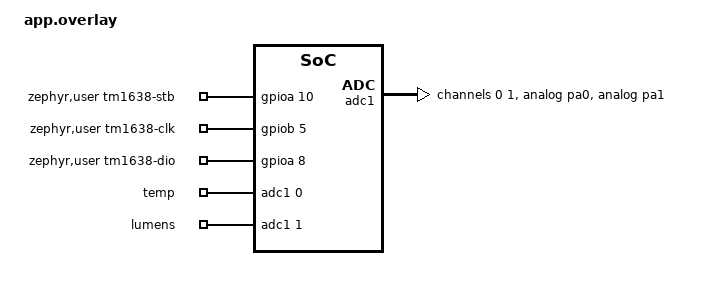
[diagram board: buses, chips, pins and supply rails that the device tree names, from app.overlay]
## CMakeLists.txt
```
# SPDX-License-Identifier: Apache-2.0

cmake_minimum_required(VERSION 3.20.0)

find_package(Zephyr REQUIRED HINTS $ENV{ZEPHYR_BASE})
project(hello_world)

target_sources(app PRIVATE
    src/main.c
    src/tm1638.c
)
target_include_directories(app PRIVATE src)
```

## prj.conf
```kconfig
# Added automatically by Workbench for Zephyr
#--- DEBUG PRESET - BEGIN ---#
# Set to -Og
CONFIG_DEBUG_OPTIMIZATIONS=y
# Thread awareness support
CONFIG_DEBUG_THREAD_INFO=y
# Generate stack usage per-function
CONFIG_STACK_USAGE=y
# Other options in case not set by default
CONFIG_BUILD_OUTPUT_HEX=y
CONFIG_BUILD_OUTPUT_META=y
CONFIG_OUTPUT_SYMBOLS=y
CONFIG_OUTPUT_STAT=y
CONFIG_OUTPUT_DISASSEMBLY=y
CONFIG_OUTPUT_PRINT_MEMORY_USAGE=y
#--- DEBUG PRESET - END ---#
CONFIG_GPIO=y
CONFIG_PRINTK=y
CONFIG_ADC=y
CONFIG_ADC_ASYNC=y
CONFIG_LOG=y
```

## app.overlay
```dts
#include <zephyr/dt-bindings/gpio/gpio.h>
#include <zephyr/dt-bindings/adc/adc.h>
/*
 * Patron "zephyr,user": forma estandar de Zephyr para pasarle GPIOs
 * sueltos a la aplicacion sin necesidad de escribir un devicetree
 * binding ni un driver formal.
 *
 * Al llamarse "app.overlay" y estar en la raiz del proyecto (no dentro
 * de boards/), Zephyr lo aplica automaticamente sin importar la placa
 * para la que compiles -- no hace falta pasar -DDTC_OVERLAY_FILE ni
 * tocar el CMakeLists.txt.
 *
 * Pines elegidos sobre el header estilo Arduino del Nucleo-F401RE
 * (libres por defecto, no pisan UART2/I2C1 que ya usa la placa):
 *   D2 -> STB   (PA10)
 *   D4 -> CLK   (PB5)
 *   D7 -> DIO   (PA8)
 * Para usar otros pines fisicos, solo hay que cambiar los numeros de
 * &arduino_header aqui abajo -- el resto del proyecto no cambia.
 */
/ {
	zephyr,user {
		tm1638-stb-gpios = <&gpioa 10 GPIO_ACTIVE_HIGH>;
		tm1638-clk-gpios = <&gpiob 5 GPIO_ACTIVE_HIGH>;
		tm1638-dio-gpios = <&gpioa 8 GPIO_ACTIVE_HIGH>;

		io-channels = <&adc1 0>, <&adc1 1>;
		io-channel-names = "temp", "lumens";
	};
};

/* DEVICETREE-MANAGER-BEGIN: generated region, do not edit inside this block */
&adc1 {
	#address-cells = <1>;
	#size-cells = <0>;
    	pinctrl-names = "default";
    	pinctrl-0 = <&analog_pa0 &analog_pa1>;
    	status = "okay";
	channel@0{
		reg = <0>;
		zephyr,gain = "ADC_GAIN_1";
		zephyr,reference = "ADC_REF_INTERNAL";
		zephyr,vref-mv = <3300>;
		zephyr,acquisition-time = <ADC_ACQ_TIME(ADC_ACQ_TIME_MICROSECONDS, 40)>;
		zephyr,resolution = <12>;
	};
	channel@1{
		reg = <1>;
		zephyr,gain = "ADC_GAIN_1";
		zephyr,reference = "ADC_REF_INTERNAL";
		zephyr,vref-mv = <3300>;
		zephyr,acquisition-time = <ADC_ACQ_TIME(ADC_ACQ_TIME_MICROSECONDS, 40)>;
		zephyr,resolution = <12>;
	};


};
/* DEVICETREE-MANAGER-END */
```

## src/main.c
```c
/*
 * Copyright (c) 2012-2014 Wind River Systems, Inc.
 *
 * SPDX-License-Identifier: Apache-2.0
 */
#include <zephyr/kernel.h>
#include <zephyr/drivers/gpio.h>
#include <zephyr/sys/printk.h>
#include <zephyr/random/random.h>
#include <zephyr/devicetree.h>
#include <zephyr/drivers/adc.h>
#include <zephyr/sys/util.h>
#include <zephyr/device.h>
#include "tm1638.h"	
#include <stdlib.h>

/*
 * Los 3 pines se definen en app.overlay dentro del nodo estandar
 * "zephyr,user" -- el patron recomendado por Zephyr para exponer GPIO
 * sueltos a la aplicacion sin escribir un devicetree binding propio.
 * Si cambias de pines fisicos, solo hay que editar app.overlay: este
 * archivo no cambia.
 */
static const struct gpio_dt_spec stb_pin =
	GPIO_DT_SPEC_GET(DT_PATH(zephyr_user), tm1638_stb_gpios);
static const struct gpio_dt_spec clk_pin =
	GPIO_DT_SPEC_GET(DT_PATH(zephyr_user), tm1638_clk_gpios);
static const struct gpio_dt_spec dio_pin =
	GPIO_DT_SPEC_GET(DT_PATH(zephyr_user), tm1638_dio_gpios);

static const struct adc_dt_spec vol =
	ADC_DT_SPEC_GET_BY_NAME(DT_PATH(zephyr_user), temp);

int last_button = 0;
int counter = 0;
int bot = 0;
volatile bool flag = true, menuflag = false;

uint64_t inicio, fin, tiempo;
uint32_t tiempo_aleatorio;

#define STACK_SIZE 512

#define PRIORITY_MAIN 5
#define PRIORITY_JUEGO 4
#define PRIORITY_BOTONES 3
#define PRIORITY_TIEMPO 2
#define PRIORITY_AUTOFAN 1
#define PRIORITY_READVOL 6

K_SEM_DEFINE (leer, 0, 1);
K_SEM_DEFINE (display, 0, 1);
K_SEM_DEFINE (autof, 0, 1);
K_SEM_DEFINE (juego, 0, 1);
K_SEM_DEFINE (stopleer, 0, 1);
K_SEM_DEFINE (stopdis, 0, 1);
K_SEM_DEFINE (stopauto, 0, 1);
K_SEM_DEFINE (stopjuego, 0, 1);
K_SEM_DEFINE (readvolt, 0, 1);
K_SEM_DEFINE (stopvolt, 0, 1);

K_MUTEX_DEFINE(acceso_hardware);



void menu (){
		printk("Menu de opciones:\n");
		printk("1) Ajustar brillo (0-7)\n");
		printk("2) remostrar mensaje de bienvenida\n");
		printk("3) leer botones y mostrar en display\n");
		printk("4) juego de reaccion con botones y leds\n");
}

void ajustar_brillo(){
	menuflag = true;
	int level = 0;
	k_mutex_lock(&acceso_hardware, K_FOREVER);
	tm1638_clear_digits();
	tm1638_set_digit(0, 0x73); //P o 0xce
	tm1638_set_digit(1, 0x77); //R o 0xee
	tm1638_set_digit(2, 0x79); //E o 0x9e
	tm1638_set_digit(3, 0x6D); //S o 0xb6
	tm1638_set_digit(4, 0xED); //S. o oxb7
	k_mutex_unlock(&acceso_hardware);
	while (menuflag){ 
		k_mutex_lock(&acceso_hardware, K_FOREVER);
		level = tm1638_get_button();
		k_mutex_unlock(&acceso_hardware);
		/* Solo reaccionamos en el flanco de "recien presionado",
		 * no en cada iteracion mientras se mantiene presionado.
		 */
		if (level > 0 && level != last_button) {

			k_mutex_lock(&acceso_hardware, K_FOREVER);
			tm1638_set_brightness(level-1);
			tm1638_clear_digits();
			tm1638_display(level-1);
			k_mutex_unlock(&acceso_hardware);

			printk("brillo ajustado a %d\n", level-1);
			if ((level-1)!=0) menuflag = false;
			}
		
		last_button = level;

		k_msleep(20);
	}
}

void mostrar_bienvenida(){

	k_mutex_lock(&acceso_hardware, K_FOREVER);
	tm1638_clear_digits();
	tm1638_set_digit(0, 0x76); //H o 0x76
	tm1638_set_digit(1, 0x79); //E o 0x9e
	tm1638_set_digit(2, 0x1C); //L o 0x1c este esta invertido por si las moscas
	tm1638_set_digit(3, 0x38); //L o 0x38
	tm1638_set_digit(4, 0xBF); //O o 0xfc 
	k_mutex_unlock(&acceso_hardware);
}

void mostrar_boton(){
	menuflag = true;
	k_mutex_lock(&acceso_hardware, K_FOREVER);
	tm1638_clear_digits();
	tm1638_set_digit(0, 0x73); //P o 0xce
	tm1638_set_digit(1, 0x77); //R o 0xee
	tm1638_set_digit(2, 0x79); //E o 0x9e
	tm1638_set_digit(3, 0x6D); //S o 0xb6
	tm1638_set_digit(4, 0xED); //S. o oxb7
	tm1638_set_digit(5, 0x3F); //O
	tm1638_set_digit(6, 0xBE); //U.
	tm1638_set_digit(7, 0xFF); //8
	k_mutex_unlock(&acceso_hardware);

	while (menuflag){ 

		k_mutex_lock(&acceso_hardware, K_FOREVER);
		int button = tm1638_get_button();
		k_mutex_unlock(&acceso_hardware);
		/* Solo reaccionamos en el flanco de "recien presionado",
		 * no en cada iteracion mientras se mantiene presionado.
		 */
		if (button > 0 && button != last_button) {

			
			k_mutex_lock(&acceso_hardware, K_FOREVER);
			tm1638_clear_digits();
			tm1638_display(button);
			k_mutex_unlock(&acceso_hardware);

			printk("Boton %d presionado\n", button);
			if (button == 8){
				menuflag = false;
				last_button = button;
				printk("Saliendo de la funcion mostrar_boton\n");
				k_msleep(2000);
			}
		}

		last_button = button;

		k_msleep(20);
	}
}

void leer_botones(void){

	while(1){

		k_sem_take(&leer ,K_FOREVER);

		while (1) {

			if(k_sem_take(&stopleer, K_NO_WAIT)==0) break;

			k_mutex_lock(&acceso_hardware, K_FOREVER);
			int boton = tm1638_get_button();
			k_mutex_unlock(&acceso_hardware);
			/* Solo reaccionamos en el flanco de "recien presionado",
			* no en cada iteracion mientras se mantiene presionado.
			*/
			if (boton > 0 && boton != last_button) {
				k_sem_give(&stopjuego);
				printk("Boton %d presionado\n", boton);
			}
			last_button = boton;
		
			k_msleep(22);
		}
	}
}

void actualizar_tiempo(void){
	while (1) {

		k_sem_take (&display, K_FOREVER);
		
		while(1){
			if (k_sem_take(&stopdis, K_NO_WAIT) == 0) break;
			k_mutex_lock(&acceso_hardware, K_FOREVER);
			tm1638_clear_digits();
			k_mutex_unlock(&acceso_hardware);
			fin = k_uptime_get();
			tiempo = (fin - inicio)/10;
			k_mutex_lock(&acceso_hardware, K_FOREVER);
			tm1638_display(tiempo);
			k_mutex_unlock(&acceso_hardware);
			k_msleep(10);
		}
	}
}

void iniciar_juego(void){

	while (1){
	
		k_sem_take(&juego, K_FOREVER);

		while (1){

			k_mutex_lock(&acceso_hardware, K_FOREVER);
			tm1638_clear();
			k_mutex_unlock(&acceso_hardware);
			printk("Juego de reaccion iniciado. Espera a que se encienda el LED...\n");
			k_mutex_lock(&acceso_hardware, K_FOREVER);
			tm1638_display(3);
			k_mutex_unlock(&acceso_hardware);
			k_msleep(1000);
			k_mutex_lock(&acceso_hardware, K_FOREVER);
			tm1638_clear();
			tm1638_display(2);
			k_mutex_unlock(&acceso_hardware);
			k_msleep(1000);
			k_mutex_lock(&acceso_hardware, K_FOREVER);
			tm1638_clear();
			tm1638_display(1);
			k_mutex_unlock(&acceso_hardware);
			k_msleep(1000);
			k_mutex_lock(&acceso_hardware, K_FOREVER);
			tm1638_clear();
			k_mutex_unlock(&acceso_hardware);

			tiempo_aleatorio = (rand() % 3000) +1000;
			k_msleep(tiempo_aleatorio);
			inicio = k_uptime_get();

			k_sem_give(&display);
			k_sem_give(&leer);
			k_sem_give(&autof);

			k_sem_take(&stopjuego, K_FOREVER);

			k_sem_give(&stopdis);
			k_sem_give(&stopleer);

			bool ganador = false;
			
			k_mutex_lock(&acceso_hardware, K_FOREVER);
			tm1638_clear_leds();
			k_mutex_unlock(&acceso_hardware);
			for (int i = 0; i < 10; i++)
			{
				k_mutex_lock(&acceso_hardware, K_FOREVER);
				if (ganador) tm1638_set_brightness(7);
				else tm1638_set_brightness(0);
				k_mutex_unlock(&acceso_hardware);
				ganador = !ganador;
				k_msleep(100);
			}

			k_sem_give(&stopauto);

		}
	}
}

void autofan(void){
	while(1){

		k_sem_take(&autof, K_FOREVER);

		while (1){

			if (k_sem_take(&stopauto, K_NO_WAIT) == 0) break;

			for (int i = 0; i < 8; i++){
				k_mutex_lock(&acceso_hardware, K_FOREVER);
				tm1638_clear_leds();
				tm1638_set_led(i, 1);
				k_mutex_unlock(&acceso_hardware);
				k_msleep(50);
			}
			for (int t = 7; t >= 0; t--){
				k_mutex_lock(&acceso_hardware, K_FOREVER);
				tm1638_clear_leds();
				tm1638_set_led(t, 1);
				k_mutex_unlock(&acceso_hardware);
				k_msleep(50);
			}
		}
	}
}

void readvol(void){
	int16_t rawvol;
	int32_t mv;
	
	int rec;

	int num;

	struct adc_sequence sec = {
    	.buffer = &rawvol,
    	.buffer_size = sizeof(rawvol),
    };
	k_sem_take(&readvolt, K_FOREVER);
	while (1){
		if (k_sem_take(&stopvolt, K_NO_WAIT) == 0) break;
		rec = adc_sequence_init_dt(&vol, &sec);
		if (rec!=0){
			printk("error al iniciar secuencia");
			break;
		}
		rec = adc_read(vol.dev, &sec);
		if (rec!=0){
			printk("error al leer");
			break;
		}
		num = rawvol*10000;
		mv = rawvol;

		rec = adc_raw_to_millivolts_dt(&vol, &mv);
		if (rec!=0){

			printk("error al iniciar transformar");
			break;
		}
		num = num + mv;
		
		k_mutex_lock(&acceso_hardware, K_FOREVER);
		tm1638_clear_digits();
		tm1638_display(num);
		k_mutex_unlock(&acceso_hardware);
		printk("Voltaje leido: %d mV\n", mv);
		
		k_msleep(500);
	}
}

void mainloop(void)
{
	while (1) {
		int ret;

		printk("Iniciando demo de TM1638...\n");
		/* 1) Inicializar el TM1638 */
		if (!device_is_ready(vol.dev)){
			printk("ADC no esta listo");
			break;
		}

		ret = adc_channel_setup_dt(&vol);

		if (ret != 0){
			printk("ADC no configurado");
		}

		k_mutex_lock(&acceso_hardware, K_FOREVER);
		printk("Antes de init\n");
		ret = tm1638_init(stb_pin, clk_pin, dio_pin);
		printk("Despues de init ret=%d\n", ret);
		k_mutex_unlock(&acceso_hardware);
		printk("ret definido\n");
		if (ret != 0) {
			printk("Error al inicializar el TM1638 (ret=%d)\n", ret);
			break;
		}
		printk("procesado\n");
		/* 2) tm1638_set_brightness(0-7): establecer el brillo */
		k_mutex_lock(&acceso_hardware, K_FOREVER);
		tm1638_set_brightness(7);
		printk("brillo establecido\n");
		/* 3) tm1638_display(): mostrar un numero en los 8 digitos */
		tm1638_display(12345678);
		printk("12345678\n");
		k_mutex_unlock(&acceso_hardware);
		k_msleep(1500);

		/* 4) tm1638_set_digit(): control manual de un digito. */
		/*    0x77 = segmentos a,b,c,e,f,g encendidos -> dibuja una "A". */
		k_mutex_lock(&acceso_hardware, K_FOREVER);
		tm1638_set_digit(2, 0x77);
		printk("set digit\n");
		k_mutex_unlock(&acceso_hardware);
		k_msleep(1000);

		/* 5) tm1638_set_digit(): control manual de un digito.
		*    0xFF enciende los 7 segmentos + el punto decimal del digito */
		k_mutex_lock(&acceso_hardware, K_FOREVER);
		tm1638_set_digit(0, 0xFF);
		k_mutex_unlock(&acceso_hardware);
		k_msleep(1000);

		/* 6) tm1638_set_led(): encender y apagar LEDs individuales */
		for (int i = 0; i < 8; i++) {
			k_mutex_lock(&acceso_hardware, K_FOREVER);
			tm1638_set_led(i, 1);
			k_mutex_unlock(&acceso_hardware);
			k_msleep(50);
		}
		printk("led on\n");
		k_msleep(500);
		for (int i = 0; i < 8; i++) {
			k_mutex_lock(&acceso_hardware, K_FOREVER);
			tm1638_set_led(i, 0);
			k_mutex_unlock(&acceso_hardware);
			k_msleep(50);
		}
		printk("ledof\n");
		/* 7) tm1638_clear_digits(): apaga solo los 7 segmentos, los LEDs
		*    quedan como esten (se nota porque dejamos uno encendido). */
		k_mutex_lock(&acceso_hardware, K_FOREVER);
		tm1638_set_led(3, 1);
		printk("setled\n");
		tm1638_display(8888);
		printk("setdisplay\n");
		k_mutex_unlock(&acceso_hardware);
		k_msleep(200);
		k_mutex_lock(&acceso_hardware, K_FOREVER);
		tm1638_clear_digits();
		k_mutex_unlock(&acceso_hardware);
		k_msleep(200);

		/* 8) tm1638_clear_leds(): apaga solo los LEDs */
		k_mutex_lock(&acceso_hardware, K_FOREVER);
		tm1638_clear_leds();
		printk("clearled\n");
		k_mutex_unlock(&acceso_hardware);
		k_msleep(500);

		/* 9) tm1638_clear(): apaga absolutamente todo */
		k_mutex_lock(&acceso_hardware, K_FOREVER);
		tm1638_display(1234);
		printk("1234\n");
		tm1638_set_led(5, 1);
		printk("ledon\n");
		k_mutex_unlock(&acceso_hardware);
		k_msleep(800);
		k_mutex_lock(&acceso_hardware, K_FOREVER);
		tm1638_clear();
		printk("clear all\n");
		k_mutex_unlock(&acceso_hardware);
		k_msleep(500);

		printk("Demo inicial terminada. Presiona los botones del modulo...\n");

		/*
		* 10), 11) y 12): loop principal.
		*
		* tm1638_get_button() ya aplica antirrebote internamente, pero
		* necesita que se le llame de forma periodica para que ese
		* antirrebote pueda "asentarse" (ver tm1638.c). Sondeamos cada
		* 20 ms con k_msleep(), que cede la CPU al scheduler en vez de
		* hacer busy-wait -- el nucleo puede atender otros hilos o entrar
		* en idle durante esa espera, no se desperdicia CPU.
		*/
		menu();

		while (flag) {
			k_mutex_lock(&acceso_hardware, K_FOREVER);
			int button = tm1638_get_button();
			k_mutex_unlock(&acceso_hardware);

			/* Solo reaccionamos en el flanco de "recien presionado",
			* no en cada iteracion mientras se mantiene presionado.
			*/
			if (button > 0 && button != last_button) {
				switch (button) {
					case 1:
						ajustar_brillo();
						menu();
						break;
					case 2:
						mostrar_bienvenida();
						k_msleep(2000);
						menu();
						break;
					case 3:
						mostrar_boton();
						menu();
						break;
					case 4:
						k_sem_give(&juego);
						flag = false;
						break;
					case 5:
						printk("leer voltaje\n");
						k_sem_give(&readvolt);
						flag = false;
						break;
					default:
						printk("Opcion invalida\n");
						menu();
						break;
				}
			}
			last_button = button;

			k_msleep(20);
		}
	k_sleep(K_FOREVER);
}
}
K_THREAD_DEFINE (main_id, STACK_SIZE, mainloop, NULL, NULL, NULL,
	PRIORITY_MAIN, 0, 0);
K_THREAD_DEFINE (botones_id, STACK_SIZE, leer_botones, NULL, NULL, NULL,
	PRIORITY_BOTONES, 0, 0);
K_THREAD_DEFINE (tiempo_id, STACK_SIZE, actualizar_tiempo, NULL, NULL, NULL,
	PRIORITY_TIEMPO, 0, 0);
K_THREAD_DEFINE (autofan_id, STACK_SIZE, autofan, NULL, NULL, NULL,
	PRIORITY_AUTOFAN, 0, 0);
K_THREAD_DEFINE (juego_id, STACK_SIZE, iniciar_juego, NULL, NULL, NULL,
	PRIORITY_JUEGO, 0, 0);
K_THREAD_DEFINE (leer_vol, STACK_SIZE, readvol, NULL, NULL, NULL,
	PRIORITY_READVOL, 0, 0);
```

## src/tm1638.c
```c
#include "tm1638.h"
#include <zephyr/kernel.h>
#include <stdbool.h>
#include <errno.h>

#define TM1638_DEBOUNCE_MS 30
#define TM1638_MAX_VALUE   99999999

/*
 * --- Protocolo del TM1638 (resumen) ---
 *
 * 3 lineas:
 *   STB  chip select. En reposo esta en alto; se pone en bajo mientras
 *        dura una transaccion (uno o mas bytes) y vuelve a alto al
 *        terminarla.
 *   CLK  reloj generado por nosotros (el maestro). En reposo alto.
 *   DIO  datos, BIDIRECCIONAL: nosotros la manejamos como salida para
 *        escribir comandos/datos, y la reconfiguramos como entrada
 *        solo durante los 4 bytes que el TM1638 responde al leer el
 *        teclado (ver scan_keys_raw). Por eso cada funcion de bajo
 *        nivel reconfigura gpio_pin_configure_dt(&tm.dio, ...) segun
 *        si va a transmitir o a recibir.
 *
 * Cada byte va LSB primero; DIO cambia con CLK en bajo y se
 * muestrea/valida con CLK en alto (igual que un SPI modo 0 casero).
 *
 * Comandos que usa esta libreria (primer byte de cada transaccion, con
 * STB en bajo mientras dura):
 *   0x44        Modo de escritura con direccion fija: el siguiente
 *               byte fija la direccion (0xC0|addr) y el que sigue a
 *               ese es el dato para esa direccion. Se usa para poder
 *               escribir un solo digito/LED sin tocar el resto.
 *   0xC0 | addr Fija la direccion (0-15) de la memoria de display para
 *               el byte de datos que sigue.
 *   0x80 | n    Control de pantalla: bit3 = encendida (1) / apagada
 *               (0), bits 0-2 = brillo (0-7).
 *   0x42        Inicia lectura del teclado: tras enviar este byte con
 *               STB en bajo, el maestro pone DIO en entrada y hace 4
 *               pulsos de reloj mas para leer 4 bytes de vuelta.
 *
 * La memoria de display tiene 16 direcciones (0x0-0xF). En los modulos
 * "LED&KEY" (el mas comun: 8 digitos + 8 LEDs + 8 botones en fila),
 * cada digito i vive en la direccion par i*2 y su LED asociado en la
 * direccion impar i*2+1.
 */

struct tm1638_state {
	struct gpio_dt_spec stb;
	struct gpio_dt_spec clk;
	struct gpio_dt_spec dio;
	bool initialized;

	/* Antirrebote de botones (ver tm1638_get_button). */
	uint8_t keys_raw_prev;
	uint8_t keys_stable;
	int64_t keys_change_ts;
};

static struct tm1638_state tm;

/* Segmentos a-g para digitos 0-9, usados por tm1638_display(). */
static const uint8_t digit_font[10] = {
	0x3F, 0x06, 0x5B, 0x4F, 0x66,
	0x6D, 0x7D, 0x07, 0x7F, 0x6F,
};

static void send_byte(uint8_t b)
{
	gpio_pin_configure_dt(&tm.dio, GPIO_OUTPUT);

	for (int i = 0; i < 8; i++) {
		gpio_pin_set_dt(&tm.clk, 0);
		gpio_pin_set_dt(&tm.dio, (b >> i) & 0x01);
		k_busy_wait(1);
		gpio_pin_set_dt(&tm.clk, 1);
		k_busy_wait(1);
	}
}

static uint8_t recv_byte(void)
{
	uint8_t b = 0;

	gpio_pin_configure_dt(&tm.dio, GPIO_INPUT);

	for (int i = 0; i < 8; i++) {
		gpio_pin_set_dt(&tm.clk, 0);
		k_busy_wait(1);
		if (gpio_pin_get_dt(&tm.dio)) {
			b |= (1 << i);
		}
		gpio_pin_set_dt(&tm.clk, 1);
		k_busy_wait(1);
	}
	return b;
}

/* Escribe un byte en una direccion fija (0-15) de la memoria de display. */
static void write_at(uint8_t addr, uint8_t data)
{
	gpio_pin_set_dt(&tm.stb, 0);
	send_byte(0x44);
	gpio_pin_set_dt(&tm.stb, 1);
	k_busy_wait(1);

	gpio_pin_set_dt(&tm.stb, 0);
	send_byte(0xC0 | (addr & 0x0F));
	send_byte(data);
	gpio_pin_set_dt(&tm.stb, 1);
}

/* Lee el estado crudo (sin antirrebote) de los 8 botones. */
static uint8_t scan_keys_raw(void)
{
	uint8_t keys = 0;
	uint8_t buf[4];

	gpio_pin_set_dt(&tm.stb, 0);
	send_byte(0x42);
	for (int i = 0; i < 4; i++) {
		buf[i] = recv_byte();
	}
	gpio_pin_set_dt(&tm.stb, 1);
	gpio_pin_configure_dt(&tm.dio, GPIO_OUTPUT);

	for (int i = 0; i < 4; i++) {
		if (buf[i] & 0x01) {
			keys |= (1 << (i * 2));
		}
		if (buf[i] & 0x10) {
			keys |= (1 << (i * 2 + 1));
		}
	}
	return keys;
}

int tm1638_init(struct gpio_dt_spec stb, struct gpio_dt_spec clk, struct gpio_dt_spec dio)
{
	int ret;

	tm.stb = stb;
	tm.clk = clk;
	tm.dio = dio;
	tm.initialized = false;
	tm.keys_raw_prev = 0;
	tm.keys_stable = 0;
	tm.keys_change_ts = k_uptime_get();

	if (!gpio_is_ready_dt(&tm.stb) || !gpio_is_ready_dt(&tm.clk) ||
	    !gpio_is_ready_dt(&tm.dio)) {
		return -ENODEV;
	}

	ret = gpio_pin_configure_dt(&tm.stb, GPIO_OUTPUT_ACTIVE);
	ret |= gpio_pin_configure_dt(&tm.clk, GPIO_OUTPUT_ACTIVE);
	ret |= gpio_pin_configure_dt(&tm.dio, GPIO_OUTPUT_ACTIVE);
	if (ret) {
		return -EIO;
	}

	tm.initialized = true;

	tm1638_clear();
	tm1638_set_brightness(4);
	return 0;
}

int tm1638_set_brightness(uint8_t level)
{
	if (!tm.initialized) {
		return -EIO;
	}
	if (level > 7) {
		return -EINVAL;
	}

	gpio_pin_set_dt(&tm.stb, 0);
	send_byte(0x88 | level); /* bit3=1 -> pantalla encendida */
	gpio_pin_set_dt(&tm.stb, 1);
	return 0;
}

int tm1638_set_digit(int digit, uint8_t segments)
{
	if (!tm.initialized) {
		return -EIO;
	}
	if (digit < 0 || digit > 7) {
		return -EINVAL;
	}

	write_at((uint8_t)digit * 2, segments);
	return 0;
}

int tm1638_display(int value)
{
	if (!tm.initialized) {
		return -EIO;
	}

	if (value < 0 || value > TM1638_MAX_VALUE) {
		/* No representable en 8 digitos: se deja claro con
		 * guiones en vez de fallar en silencio.
		 */
		for (int pos = 0; pos < 8; pos++) {
			tm1638_set_digit(pos, 0x40);
		}
		return -EINVAL;
	}

	tm1638_clear_digits();

	int pos = 7;
	uint32_t v = (uint32_t)value;

	do {
		tm1638_set_digit(pos, digit_font[v % 10]);
		v /= 10;
		pos--;
	} while (v > 0 && pos >= 0);

	return 0;
}

int tm1638_clear(void)
{
	if (!tm.initialized) {
		return -EIO;
	}
	for (uint8_t addr = 0; addr < 16; addr++) {
		write_at(addr, 0x00);
	}
	return 0;
}

int tm1638_clear_digits(void)
{
	if (!tm.initialized) {
		return -EIO;
	}
	for (uint8_t pos = 0; pos < 8; pos++) {
		write_at(pos * 2, 0x00);
	}
	return 0;
}

int tm1638_clear_leds(void)
{
	if (!tm.initialized) {
		return -EIO;
	}
	for (uint8_t pos = 0; pos < 8; pos++) {
		write_at(pos * 2 + 1, 0x00);
	}
	return 0;
}

int tm1638_set_led(int led, int state)
{
	if (!tm.initialized) {
		return -EIO;
	}
	if (led < 0 || led > 7) {
		return -EINVAL;
	}
	if (state != 0 && state != 1) {
		return -EINVAL;
	}

	write_at((uint8_t)led * 2 + 1, state ? 0x01 : 0x00);
	return 0;
}

int tm1638_get_button(void)
{
	if (!tm.initialized) {
		return -EIO;
	}

	uint8_t raw = scan_keys_raw();
	int64_t now = k_uptime_get();

	if (raw != tm.keys_raw_prev) {
		/* Cambio detectado: reinicia el temporizador de estabilidad.
		 * Todavia NO se acepta como valido -- podria ser rebote.
		 */
		tm.keys_raw_prev = raw;
		tm.keys_change_ts = now;
	} else if ((now - tm.keys_change_ts) >= TM1638_DEBOUNCE_MS) {
		/* El estado crudo lleva sin cambiar >= TM1638_DEBOUNCE_MS:
		 * ahora si se acepta como el estado "estable" real.
		 */
		tm.keys_stable = raw;
	}

	if (tm.keys_stable == 0) {
		return 0;
	}

	/* Varios botones a la vez: se prioriza el de menor numero. */
	for (int i = 0; i < 8; i++) {
		if (tm.keys_stable & BIT(i)) {
			return i + 1;
		}
	}

	return 0;
}
```

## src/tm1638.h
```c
#ifndef TM1638_H_
#define TM1638_H_

#include <stdint.h>
#include <zephyr/drivers/gpio.h>

/*
 * Libreria simple para el modulo TM1638 (8 displays de 7 segmentos,
 * 8 LEDs, 8 botones) sobre Zephyr RTOS, implementada con la API de
 * GPIO de Zephyr (sin nada de Arduino/HAL/delay()/digitalWrite()).
 *
 * Es una libreria "de un solo dispositivo": guarda su estado en
 * variables estaticas dentro de tm1638.c, asi que ninguna funcion
 * recibe ni devuelve un handle/puntero al dispositivo -- eso es lo
 * que permite usarla como tm1638_display(numero) directamente desde
 * main.c. La limitacion a cambio es que solo soporta un TM1638 activo
 * a la vez (de sobra para el caso tipico de un solo modulo).
 *
 * Codigos de retorno usados por las funciones que pueden fallar:
 *    0        -> exito
 *   -EINVAL   -> argumento fuera de rango
 *   -EIO      -> error de comunicacion o libreria no inicializada
 *   -ENODEV   -> (solo en tm1638_init) un GPIO del devicetree no esta listo
 */

/**
 * Inicializa el TM1638 con los 3 pines indicados. Deja el modulo con
 * todos los digitos y LEDs apagados y brillo medio (nivel 4).
 *
 * Los gpio_dt_spec normalmente se obtienen del devicetree con
 * GPIO_DT_SPEC_GET() en main.c (ver ejemplo en main.c y app.overlay).
 */
int tm1638_init(struct gpio_dt_spec stb, struct gpio_dt_spec clk, struct gpio_dt_spec dio);

/**
 * Ajusta el brillo de la pantalla.
 * level: 0 (minimo) a 7 (maximo). Fuera de ese rango -> -EINVAL.
 */
int tm1638_set_brightness(uint8_t level);

/**
 * Muestra un numero entero en los 8 digitos de 7 segmentos, alineado a
 * la derecha (el digito de la derecha = unidades, igual que en una
 * calculadora). Los digitos no usados quedan apagados. value = 0 se
 * muestra correctamente como "0" en el digito de la derecha.
 *
 * Rango valido: 0 a 99999999 (8 digitos, el maximo que entra en el
 * modulo). Un valor fuera de ese rango (incluye negativos) no se puede
 * representar con 8 digitos: la funcion devuelve -EINVAL y, para que
 * el error tambien sea visible en el propio modulo, enciende una fila
 * de guiones "--------" en vez de dejar el valor anterior sin avisar.
 */
int tm1638_display(int value);

/**
 * Control manual de los segmentos de un digito especifico (para
 * dibujar letras, simbolos, o cualquier patron que no sea 0-9).
 *
 * digit: 0-7 (0 = digito mas a la izquierda, 7 = mas a la derecha).
 *        Fuera de rango -> -EINVAL.
 * segments: mapa de bits, uno por segmento -- este es el orden que usa
 *           el TM1638 en su registro de display, no hace falta
 *           reordenarlo:
 *     bit 0 = a      bit 4 = e
 *     bit 1 = b      bit 5 = f
 *     bit 2 = c      bit 6 = g
 *     bit 3 = d      bit 7 = dp (punto decimal)
 *           0xFF enciende los 7 segmentos + el punto decimal.
 *           0x00 apaga todos los segmentos de ese digito.
 */
int tm1638_set_digit(int digit, uint8_t segments);

/** Apaga los 8 digitos de 7 segmentos Y los 8 LEDs. */
int tm1638_clear(void);

/** Apaga solo los 8 digitos de 7 segmentos (los LEDs no se tocan). */
int tm1638_clear_digits(void);

/** Apaga solo los 8 LEDs (los digitos de 7 segmentos no se tocan). */
int tm1638_clear_leds(void);

/**
 * Enciende o apaga un LED individual.
 * led: 0-7. state: 0 (apagado) o 1 (encendido).
 * Cualquier valor fuera de esos rangos devuelve -EINVAL.
 */
int tm1638_set_led(int led, int state);

/**
 * Devuelve que boton esta presionado, con antirrebote (debounce) ya
 * aplicado:
 *    0     -> ningun boton presionado
 *   1..8   -> boton N presionado (numerados de izquierda a derecha)
 *   -EIO   -> libreria no inicializada
 *
 * Si se presiona mas de un boton a la vez, se devuelve el de menor
 * numero (el mas a la izquierda). Es una decision de diseno necesaria
 * porque la funcion solo puede comunicar un boton por llamada; ver el
 * comentario junto a su implementacion en tm1638.c si tu proyecto
 * necesita conocer el estado de los 8 botones simultaneamente.
 *
 * El antirrebote es NO bloqueante (no llama a k_sleep internamente):
 * una lectura solo se toma como valida despues de que el estado fisico
 * se mantiene estable durante TM1638_DEBOUNCE_MS. Por eso hay que
 * llamar a esta funcion periodicamente (p. ej. cada 10-20 ms dentro
 * del loop principal); una sola llamada aislada puede no reflejar
 * todavia el estado "asentado" del boton.
 */
int tm1638_get_button(void);

#endif /* TM1638_H_ */
```
